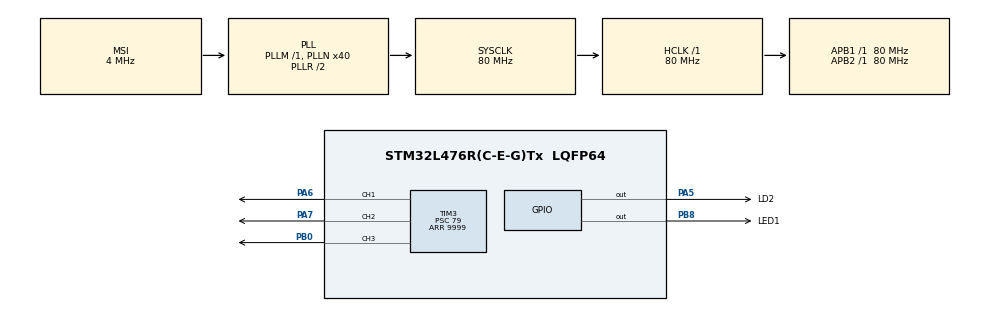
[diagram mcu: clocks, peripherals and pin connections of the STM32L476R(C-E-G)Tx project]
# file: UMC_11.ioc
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Mcu.Family=STM32L4
Mcu.Name=STM32L476R(C-E-G)Tx
Mcu.Package=LQFP64
NVIC.PriorityGroup=NVIC_PRIORITYGROUP_4
NVIC.TIM3_IRQn=true\:10\:0\:true\:false\:true\:true\:true\:true
PA5.GPIO_Label=LD2
PA5.Signal=GPIO_Output
PA6.Signal=S_TIM3_CH1
PA7.Signal=S_TIM3_CH2
PB0.Signal=S_TIM3_CH3
PB8.GPIO_Label=LED1
PB8.Signal=GPIO_Output
ProjectManager.HeapSize=0x200
ProjectManager.StackSize=0x400
ProjectManager.TargetToolchain=STM32CubeIDE
RCC.AHBFreq_Value=80000000
RCC.APB1Freq_Value=80000000
RCC.APB1TimFreq_Value=80000000
RCC.APB2Freq_Value=80000000
RCC.APB2TimFreq_Value=80000000
RCC.CortexFreq_Value=80000000
RCC.HCLKFreq_Value=80000000
RCC.HSE_VALUE=8000000
RCC.HSI_VALUE=16000000
RCC.LSE_VALUE=32768
RCC.MSI_VALUE=4000000
RCC.PLLN=40
RCC.SYSCLKFreq_VALUE=80000000
RCC.SYSCLKSource=RCC_SYSCLKSOURCE_PLLCLK
RCC.VCOOutputFreq_Value=160000000
SH.S_TIM3_CH1.0=TIM3_CH1,PWM Generation1 CH1
SH.S_TIM3_CH2.0=TIM3_CH2,PWM Generation2 CH2
SH.S_TIM3_CH3.0=TIM3_CH3,PWM Generation3 CH3
TIM3.Channel-PWM\ Generation1\ CH1=TIM_CHANNEL_1
TIM3.Channel-PWM\ Generation2\ CH2=TIM_CHANNEL_2
TIM3.Channel-PWM\ Generation3\ CH3=TIM_CHANNEL_3
TIM3.OCPolarity_1=TIM_OCPOLARITY_LOW
TIM3.OCPolarity_2=TIM_OCPOLARITY_LOW
TIM3.OCPolarity_3=TIM_OCPOLARITY_LOW
TIM3.Period=9999
TIM3.Prescaler=79
TIM3.Pulse-PWM\ Generation1\ CH1=250
TIM3.Pulse-PWM\ Generation2\ CH2=500
TIM3.Pulse-PWM\ Generation3\ CH3=750
VP_TIM3_VS_ClockSourceINT.Mode=Internal
board=custom

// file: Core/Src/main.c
/* USER CODE BEGIN Header */
/**
  ******************************************************************************
  * @file           : main.c
  * @brief          : Main program body
  ******************************************************************************
  * @attention
  *
  * Copyright (c) 2024 STMicroelectronics.
  * All rights reserved.
  *
  * This software is licensed under terms that can be found in the LICENSE file
  * in the root directory of this software component.
  * If no LICENSE file comes with this software, it is provided AS-IS.
  *
  ******************************************************************************
  */
/* USER CODE END Header */
#include "main.h"

/* USER CODE BEGIN Includes */
#include <stdbool.h>
#include <string.h>
#include <stdio.h>
#include <math.h>
/* USER CODE END Includes */

TIM_HandleTypeDef htim3;

void SystemClock_Config(void);
static void MX_GPIO_Init(void);
static void MX_TIM3_Init(void);

/* USER CODE BEGIN 0 */

float calc_pwm(float val)
{
 const float k = 0.13f;
 const float x0 = 70.0f;
 return 10000.0f / (1.0f + exp(-k * (val - x0)));
}

/* USER CODE END 0 */

int main(void)
{

  /* MCU Configuration--------------------------------------------------------*/

  /* Reset of all peripherals, Initializes the Flash interface and the Systick. */
  HAL_Init();

  /* Configure the system clock */
  SystemClock_Config();

  /* Initialize all configured peripherals */
  MX_GPIO_Init();
  MX_TIM3_Init();
  /* USER CODE BEGIN 2 */
  HAL_TIM_Base_Start_IT(&htim3);
  HAL_TIM_PWM_Start(&htim3, TIM_CHANNEL_1);
  HAL_TIM_PWM_Start(&htim3, TIM_CHANNEL_2);
  HAL_TIM_PWM_Start(&htim3, TIM_CHANNEL_3);

  /* USER CODE END 2 */

  /* Infinite loop */
  /* USER CODE BEGIN WHILE */
  int counter;
  while (1)
  {
	  float r = 50 * (1.0f + sin(counter / 100.0f));
	  float g = 50 * (1.0f + sin(1.5f * counter / 100.0f));
	  float b = 50 * (1.0f + sin(2.0f * counter / 100.0f));
	  __HAL_TIM_SET_COMPARE(&htim3, TIM_CHANNEL_1, calc_pwm(b));
	  __HAL_TIM_SET_COMPARE(&htim3, TIM_CHANNEL_2, calc_pwm(g));
	  __HAL_TIM_SET_COMPARE(&htim3, TIM_CHANNEL_3, calc_pwm(r));
	  HAL_Delay(10);
	  counter++;

    /* USER CODE END WHILE */

  }
}

void SystemClock_Config(void)
{
  RCC_OscInitTypeDef RCC_OscInitStruct = {0};
  RCC_ClkInitTypeDef RCC_ClkInitStruct = {0};

  /** Configure the main internal regulator output voltage
  */
  if (HAL_PWREx_ControlVoltageScaling(PWR_REGULATOR_VOLTAGE_SCALE1) != HAL_OK)
  {
    Error_Handler();
  }

  /** Initializes the RCC Oscillators according to the specified parameters
  * in the RCC_OscInitTypeDef structure.
  */
  RCC_OscInitStruct.OscillatorType = RCC_OSCILLATORTYPE_MSI;
  RCC_OscInitStruct.MSIState = RCC_MSI_ON;
  RCC_OscInitStruct.MSICalibrationValue = 0;
  RCC_OscInitStruct.MSIClockRange = RCC_MSIRANGE_6;
  RCC_OscInitStruct.PLL.PLLState = RCC_PLL_ON;
  RCC_OscInitStruct.PLL.PLLSource = RCC_PLLSOURCE_MSI;
  RCC_OscInitStruct.PLL.PLLM = 1;
  RCC_OscInitStruct.PLL.PLLN = 40;
  RCC_OscInitStruct.PLL.PLLP = RCC_PLLP_DIV7;
  RCC_OscInitStruct.PLL.PLLQ = RCC_PLLQ_DIV2;
  RCC_OscInitStruct.PLL.PLLR = RCC_PLLR_DIV2;
  if (HAL_RCC_OscConfig(&RCC_OscInitStruct) != HAL_OK)
  {
    Error_Handler();
  }

  /** Initializes the CPU, AHB and APB buses clocks
  */
  RCC_ClkInitStruct.ClockType = RCC_CLOCKTYPE_HCLK|RCC_CLOCKTYPE_SYSCLK
                              |RCC_CLOCKTYPE_PCLK1|RCC_CLOCKTYPE_PCLK2;
  RCC_ClkInitStruct.SYSCLKSource = RCC_SYSCLKSOURCE_PLLCLK;
  RCC_ClkInitStruct.AHBCLKDivider = RCC_SYSCLK_DIV1;
  RCC_ClkInitStruct.APB1CLKDivider = RCC_HCLK_DIV1;
  RCC_ClkInitStruct.APB2CLKDivider = RCC_HCLK_DIV1;

  if (HAL_RCC_ClockConfig(&RCC_ClkInitStruct, FLASH_LATENCY_4) != HAL_OK)
  {
    Error_Handler();
  }
}

static void MX_TIM3_Init(void)
{

  TIM_ClockConfigTypeDef sClockSourceConfig = {0};
  TIM_MasterConfigTypeDef sMasterConfig = {0};
  TIM_OC_InitTypeDef sConfigOC = {0};

  htim3.Instance = TIM3;
  htim3.Init.Prescaler = 79;
  htim3.Init.CounterMode = TIM_COUNTERMODE_UP;
  htim3.Init.Period = 9999;
  htim3.Init.ClockDivision = TIM_CLOCKDIVISION_DIV1;
  htim3.Init.AutoReloadPreload = TIM_AUTORELOAD_PRELOAD_DISABLE;
  if (HAL_TIM_Base_Init(&htim3) != HAL_OK)
  {
    Error_Handler();
  }
  sClockSourceConfig.ClockSource = TIM_CLOCKSOURCE_INTERNAL;
  if (HAL_TIM_ConfigClockSource(&htim3, &sClockSourceConfig) != HAL_OK)
  {
    Error_Handler();
  }
  if (HAL_TIM_PWM_Init(&htim3) != HAL_OK)
  {
    Error_Handler();
  }
  sMasterConfig.MasterOutputTrigger = TIM_TRGO_RESET;
  sMasterConfig.MasterSlaveMode = TIM_MASTERSLAVEMODE_DISABLE;
  if (HAL_TIMEx_MasterConfigSynchronization(&htim3, &sMasterConfig) != HAL_OK)
  {
    Error_Handler();
  }
  sConfigOC.OCMode = TIM_OCMODE_PWM1;
  sConfigOC.Pulse = 250;
  sConfigOC.OCPolarity = TIM_OCPOLARITY_LOW;
  sConfigOC.OCFastMode = TIM_OCFAST_DISABLE;
  if (HAL_TIM_PWM_ConfigChannel(&htim3, &sConfigOC, TIM_CHANNEL_1) != HAL_OK)
  {
    Error_Handler();
  }
  sConfigOC.Pulse = 500;
  if (HAL_TIM_PWM_ConfigChannel(&htim3, &sConfigOC, TIM_CHANNEL_2) != HAL_OK)
  {
    Error_Handler();
  }
  sConfigOC.Pulse = 750;
  if (HAL_TIM_PWM_ConfigChannel(&htim3, &sConfigOC, TIM_CHANNEL_3) != HAL_OK)
  {
    Error_Handler();
  }
  HAL_TIM_MspPostInit(&htim3);

}

static void MX_GPIO_Init(void)
{
  GPIO_InitTypeDef GPIO_InitStruct = {0};

  /* GPIO Ports Clock Enable */
  __HAL_RCC_GPIOA_CLK_ENABLE();
  __HAL_RCC_GPIOB_CLK_ENABLE();

  /*Configure GPIO pin Output Level */
  HAL_GPIO_WritePin(LD2_GPIO_Port, LD2_Pin, GPIO_PIN_RESET);

  /*Configure GPIO pin Output Level */
  HAL_GPIO_WritePin(LED1_GPIO_Port, LED1_Pin, GPIO_PIN_RESET);

  /*Configure GPIO pin : LD2_Pin */
  GPIO_InitStruct.Pin = LD2_Pin;
  GPIO_InitStruct.Mode = GPIO_MODE_OUTPUT_PP;
  GPIO_InitStruct.Pull = GPIO_NOPULL;
  GPIO_InitStruct.Speed = GPIO_SPEED_FREQ_LOW;
  HAL_GPIO_Init(LD2_GPIO_Port, &GPIO_InitStruct);

  /*Configure GPIO pin : LED1_Pin */
  GPIO_InitStruct.Pin = LED1_Pin;
  GPIO_InitStruct.Mode = GPIO_MODE_OUTPUT_PP;
  GPIO_InitStruct.Pull = GPIO_NOPULL;
  GPIO_InitStruct.Speed = GPIO_SPEED_FREQ_LOW;
  HAL_GPIO_Init(LED1_GPIO_Port, &GPIO_InitStruct);

}

void Error_Handler(void)
{
  /* USER CODE BEGIN Error_Handler_Debug */
  /* User can add his own implementation to report the HAL error return state */
  __disable_irq();
  while (1)
  {
//	  led_set(1, false);
//	  led_set(2, true);
//	  led_set(3, true);

  }
  /* USER CODE END Error_Handler_Debug */
}
